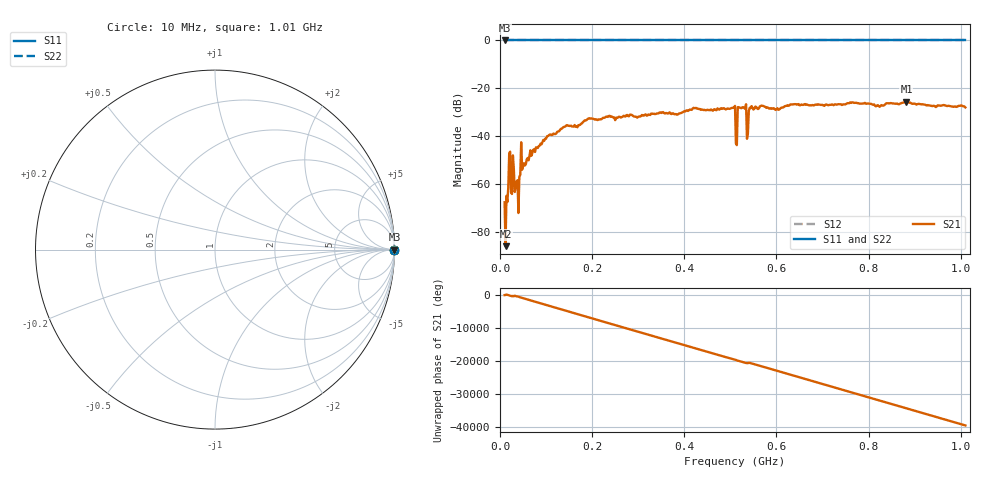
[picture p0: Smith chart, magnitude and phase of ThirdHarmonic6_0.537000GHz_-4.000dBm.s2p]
! 8/15/2025 4:47:51 PM
! C:\ANRITSUVNA\TEMP\TEMP.S2P
! CHANNEL.1
! TR.MEASUREMENT
! RAW.DATA
! RF.CORRECTION.OFF
! AVERAGING.OFF
! IF.BANDWIDTH: 5KHZ
! SWEEPTYPE:  FREQ.SWEEP(Linear)
! Reference Plane Port Info
! PORT:  PORT1  PORT2
! DISTANCE:  0  m  0  m
! TIME:  0  s  0  s
! PHASE.OFFSET:  0  deg.  0  deg.
! LOSS:  0  dB  0  dB
! REF.LOSS:  0  dB  0  dB
! REF.FREQ:  0  Hz  0  Hz
! Power Info
! POWER:  -20  dBm  -20  dBm
! EFF.POWER:  -20  dBm  -20  dBm
! SOURCE.ATTEN:  0  dB  0  dB
! TEST.ATTEN:  0  dB  0  dB
# GHZ S RI R 50.0
! FREQ.GHZ  S11RE  S11IM  S21RE  S21IM  S12RE  S12IM  S22RE  S22IM
!; PortSelection: Port_12
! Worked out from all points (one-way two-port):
!   501 points, 10 MHz to 1.01 GHz, reference 50 ohm
!   highest |S21| = -25.53 dB at 882 MHz (marker M1); lowest = -85.7 dB at 12 MHz (marker M2)
!   lowest |S11| = 0.0 dB at 10 MHz (marker M3)
!   |S11| at or under -10 dB: nowhere
!   |S22| runs from 0.0 to 0.0 dB; largest |S21 - S12| = 1.1
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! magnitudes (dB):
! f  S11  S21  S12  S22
! 10 MHz  0.0  -67.5  0.0  0.0
! 12 MHz  0.0  -85.7  0.0  0.0
! 18 MHz  0.0  -61.2  0.0  0.0
! 24 MHz  0.0  -63.3  0.0  0.0
! 28 MHz  0.0  -47.9  0.0  0.0
! 32 MHz  0.0  -63.1  0.0  0.0
! 36 MHz  0.0  -58.7  0.0  0.0
! 48 MHz  0.0  -53.8  0.0  0.0
! 70 MHz  0.0  -47.1  0.0  0.0
! 106 MHz  0.0  -39.5  0.0  0.0
! 178 MHz  0.0  -34.5  0.0  0.0
! 344 MHz  0.0  -30.4  0.0  0.0
! 506 MHz  0.0  -28.1  0.0  0.0
! 510 MHz  0.0  -27.3  0.0  0.0
! 516 MHz  0.0  -27.8  0.0  0.0
! 520 MHz  0.0  -28.0  0.0  0.0
! 540 MHz  0.0  -29.3  0.0  0.0
! 546 MHz  0.0  -27.4  0.0  0.0
! 678 MHz  0.0  -26.9  0.0  0.0
! 844 MHz  0.0  -26.2  0.0  0.0
! 882 MHz  0.0  -25.5  0.0  0.0
! 1.01 GHz  0.0  -27.9  0.0  0.0
